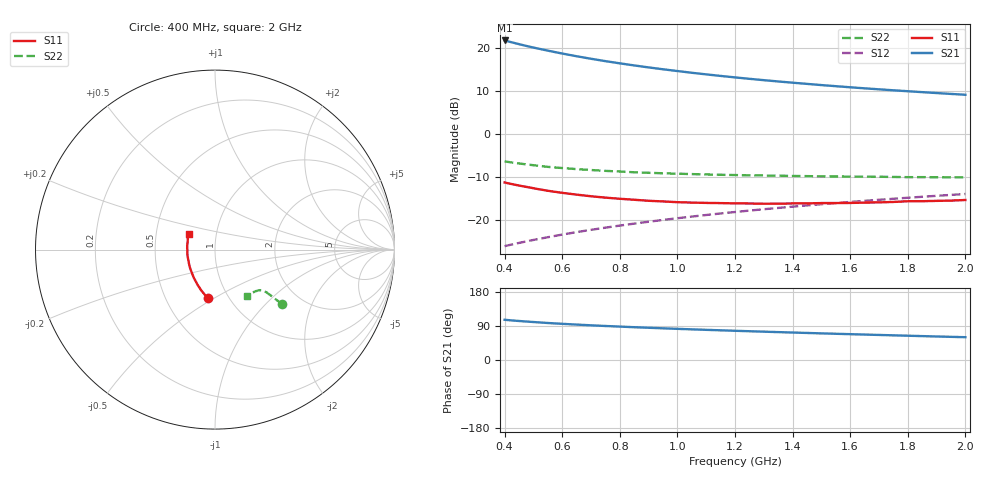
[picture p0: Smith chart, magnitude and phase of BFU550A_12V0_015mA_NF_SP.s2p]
! Filename:  P:\Prog\Test\Noise\ATS_data\Testdata_Net\06 Compressed Noise after Statistics\BFU550A_APG2013_35_C05_12p0V_015mA_NF_CM01_D.sf
! Date/Time: Tue 16/Apr/2013 15:11:29
! BFU550A_APG2013_35_C05_12p0V_1to35mA_NF_CM01_Bias6_R.sf
! Noise Parameter Data File
! BFU550A_APG2013_35_C05_12p0V_1to35mA_NF_CM01
! Date/time: Mon Apr 15 18:57:59 2013
! VAR V_out= 12.001000
! VAR I_out= 14.995000
! VAR V_in= 0.788500
! VAR I_in= 0.139000
! Device data file deembeded for feedlines and parallel
! Original file: \06 Compressed Noise after Statistics\BFU550A_APG2013_35_C05_12p0V_015mA_NF_CM01_R.sf
! Feed-files: PR017V01_150413_Feed1.s2p, PR017V01_150413_Feed2.s2p
! Parallel-file: PR017V01_150413_Par.s2p
# MHz S MA R 50
!  Freq-MHz  S11-mag  S11-arg  S21-mag  S21-arg  S12-mag  S12-arg  S22-mag  S22-arg
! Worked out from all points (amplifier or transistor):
!   37 points, 400 MHz to 2 GHz, reference 50 ohm
!   highest |S21| = 21.8 dB at 400 MHz (marker M1)
!   |S21| within 3 dB of that: start of sweep to 596.4 MHz
!   unconditionally stable (mu >= 1): 1.233 GHz to end of sweep
!   at 500 MHz: K = 0.87, MSG = 22.4 dB, |S12| = -24.7 dB
!   at 1.1 GHz: K = 0.99, MSG = 16.4 dB, |S12| = -18.9 dB
!   at 2 GHz: K = 1.00, MAG = 11.2 dB, |S12| = -14.0 dB
!   lowest NFmin = 0.94 dB at 420 MHz
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400  0.2725 -98.4  12.34 106.1  0.04934 68.0  0.4801 -38.9
420  0.2636 -101.1  11.85 104.8  0.05115 68.1  0.469 -39.1
433  0.2576 -102.8  11.55 104.0  0.05229 68.2  0.4625 -39.1
460  0.2474 -105.9  10.96 102.4  0.05473 68.5  0.45 -39.2
480  0.2408 -108.4  10.56 101.3  0.0565 68.6  0.441 -39.3
500  0.2336 -110.7  10.19 100.2  0.05831 68.7  0.4335 -39.3
550  0.2182 -116.5  9.384 97.6  0.06273 69.1  0.4146 -39.3
600  0.2065 -121.5  8.683 95.5  0.06734 69.4  0.4017 -39.4
650  0.1968 -126.6  8.075 93.4  0.07194 69.7  0.3905 -39.5
700  0.1885 -131.3  7.547 91.5  0.07651 69.9  0.3809 -39.6
750  0.1815 -135.9  7.082 89.8  0.08111 70.1  0.3724 -39.7
800  0.1761 -140.2  6.675 88.2  0.08576 70.2  0.3658 -40.0
850  0.1715 -144.8  6.31 86.5  0.09039 70.2  0.3586 -40.2
950  0.164 -152.8  5.692 83.6  0.09975 70.3  0.3491 -40.9
1050  0.1589 -160.3  5.182 80.9  0.1092 70.2  0.3416 -41.5
1100  0.1576 -164.0  4.963 79.6  0.1139 70.1  0.3385 -42.0
1200  0.1556 -170.8  4.577 77.1  0.1234 69.8  0.3329 -43.0
1350  0.1543 -179.9  4.104 73.6  0.1378 69.2  0.3271 -44.8
1500  0.1569 171.3  3.724 70.3  0.1521 68.5  0.3215 -46.8
1600  0.1575 166.4  3.51 68.2  0.1617 68.0  0.3197 -48.3
1750  0.1617 159.5  3.237 65.1  0.1761 67.1  0.3163 -50.5
2000  0.1704 149.6  2.871 60.2  0.2001 65.4  0.3129 -54.9
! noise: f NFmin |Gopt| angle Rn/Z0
400  1.014  0.1068  -175.1  0.0987
460  0.9527  0.1461  -174.8  0.0924
600  1.043  0.09263  -156  0.1147
800  0.9941  0.1326  -156.7  0.1081
1000  1.03  0.1568  -167.2  0.0942
1200  1.111  0.1695  -156.9  0.0923
1400  1.101  0.2348  -158.6  0.0772
1600  1.115  0.2233  -148  0.0917
1800  1.122  0.2143  -140.5  0.1005
2000  1.136  0.2909  -141.8  0.0777
